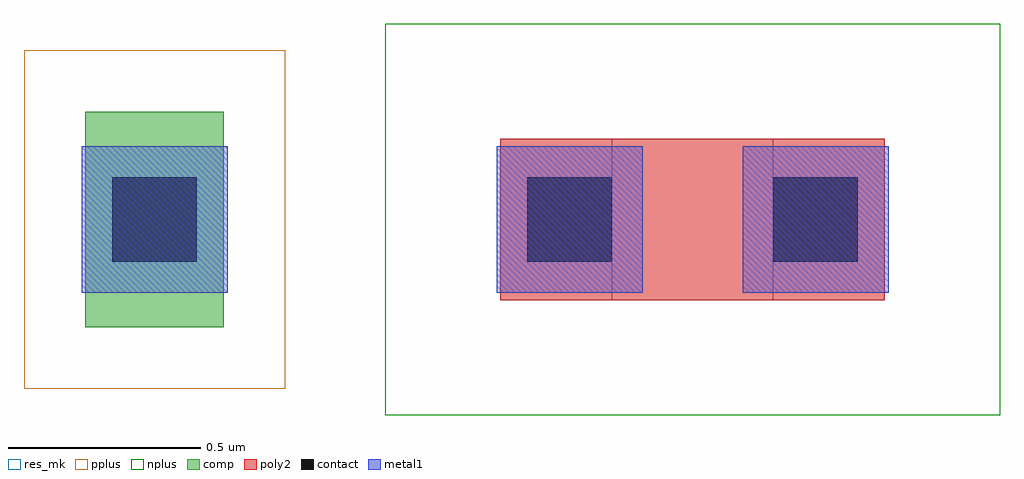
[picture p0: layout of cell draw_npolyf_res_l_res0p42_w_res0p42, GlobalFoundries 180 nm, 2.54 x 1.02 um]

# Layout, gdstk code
import gdstk
lib = gdstk.Library(unit=1e-6, precision=1e-09)
def R(c, l, rs):  # rectangles x0, y0, x1, y1
    for r in rs: c.add(gdstk.rectangle(r[:2], r[2:], *l))
comp = (22, 0)
poly2 = (30, 0)
pplus = (31, 0)
nplus = (32, 0)
contact = (33, 0)
metal1 = (34, 0)
res_mk = (110, 5)

draw_npolyf_res_l_res0p4 = lib.new_cell('draw_npolyf_res_l_res0p42_w_res0p42')
R(draw_npolyf_res_l_res0p4, comp, [(-1.37,-0.07,-1.01,0.49)])
R(draw_npolyf_res_l_res0p4, poly2, [(-0.29,0,0.71,0.42)])
R(draw_npolyf_res_l_res0p4, pplus, [(-1.53,-0.23,-0.85,0.65)])
R(draw_npolyf_res_l_res0p4, nplus, [(-0.59,-0.3,1.01,0.72)])
R(draw_npolyf_res_l_res0p4, contact, [(-1.3,0.1,-1.08,0.32), (-0.22,0.1,0,0.32), (0.42,0.1,0.64,0.32)])
R(draw_npolyf_res_l_res0p4, metal1, [(-1.38,0.02,-1,0.4), (-0.3,0.02,0.08,0.4), (0.34,0.02,0.72,0.4)])
R(draw_npolyf_res_l_res0p4, res_mk, [(0,0,0.42,0.42)])

lib.write_gds('draw_npolyf_res_l_res0p42_w_res0p42.gds')
